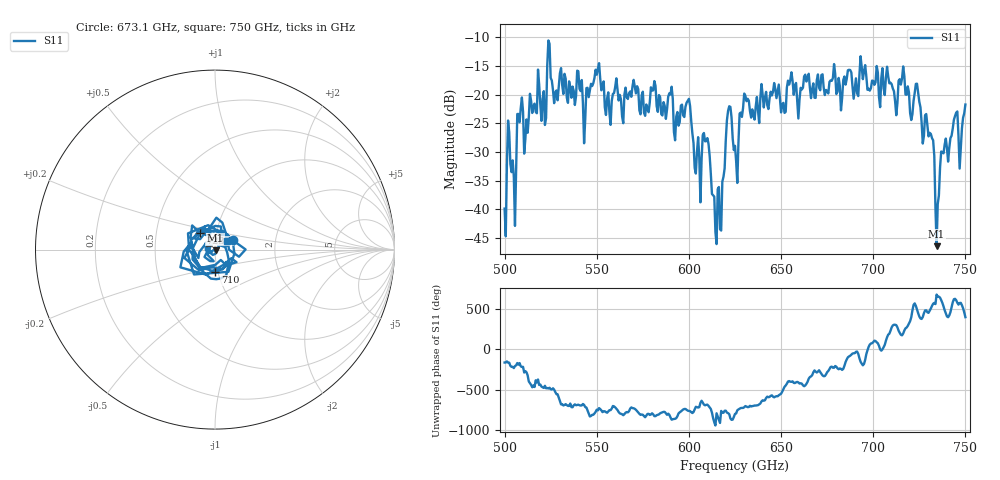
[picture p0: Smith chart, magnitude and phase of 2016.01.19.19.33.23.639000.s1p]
!Created with skrf (http://scikit-rf.org).
# GHz S RI R 50.0
!freq ReS11 ImS11
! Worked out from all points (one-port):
!   401 points, 500 GHz to 750 GHz, reference 50 ohm
!   lowest |S11| = -46.4 dB at 734.4 GHz (marker M1), VSWR 1.01, Z = 50.3 - j0.332 ohm
!   |S11| at or under -10 dB: start of sweep to end of sweep
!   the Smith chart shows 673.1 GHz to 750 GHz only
!   S11 on the Smith chart (normalised r, x): 673.1 GHz: 1.22, +0.13; 710 GHz: 0.97, -0.24; 723.8 GHz: 0.84, +0.16; 750 GHz: 1.13, +0.11
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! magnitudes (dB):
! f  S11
! 500 GHz  -39.9
! 502.5 GHz  -26.6
! 505 GHz  -34.3
! 508.1 GHz  -24.8
! 521.2 GHz  -19.4
! 524.4 GHz  -11.1
! 527.5 GHz  -19.6
! 531.2 GHz  -18.3
! 562.5 GHz  -20.0
! 590 GHz  -20.0
! 593.8 GHz  -23.0
! 599.4 GHz  -21.0
! 605 GHz  -27.4
! 609.4 GHz  -28.1
! 615.6 GHz  -36.5
! 621.9 GHz  -22.0
! 625 GHz  -28.9
! 630.6 GHz  -20.2
! 656.2 GHz  -17.6
! 673.1 GHz  -18.8
! 687.5 GHz  -15.7
! 710 GHz  -18.2
! 718.8 GHz  -18.5
! 723.8 GHz  -18.1
! 731.9 GHz  -27.6
! 734.4 GHz  -46.4
! 738.1 GHz  -30.2
! 750 GHz  -21.7
